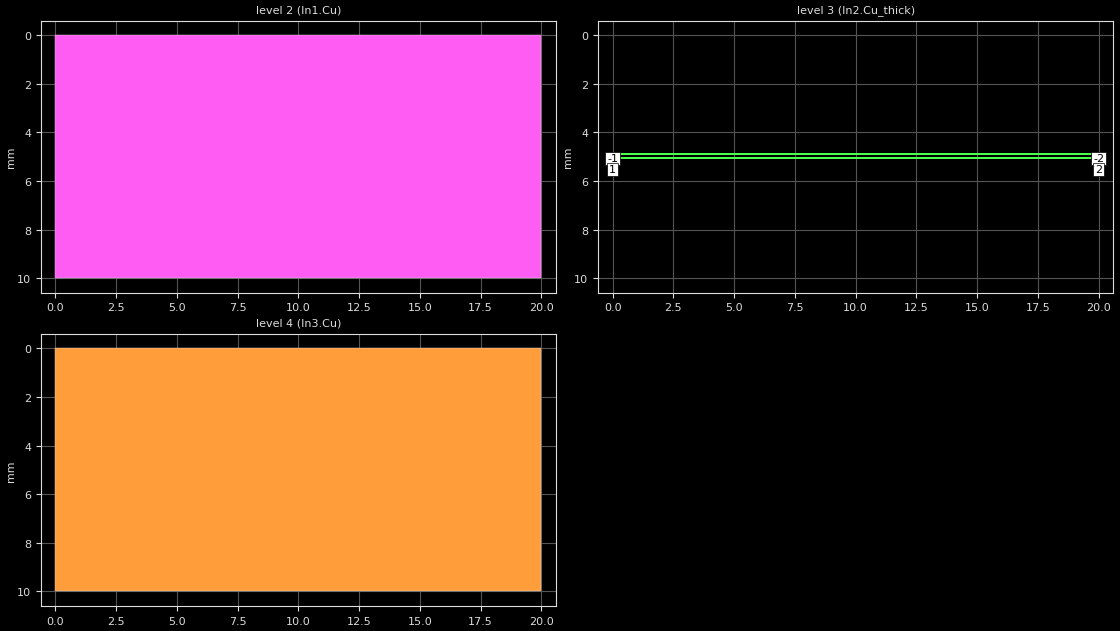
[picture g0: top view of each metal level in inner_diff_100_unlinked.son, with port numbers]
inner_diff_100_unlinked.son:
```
FTYP SONPROJ 19 ! Sonnet Project File
VER 18.52
HEADER
LIC antikernel2.1.51176
DAT 02/26/2022 12:07:44
BUILT_BY_CREATED xgeom 18.52 11/18/2021 20:28:07
BUILT_BY_SAVED sonnet 18.52
MDATE 02/26/2022 12:07:44
HDATE 02/26/2022 12:07:44
END HEADER
DIM
ANG DEG
CAP PF
CON /OH
FREQ GHZ
IND NH
LNG MM
RES OH
END DIM
CONTROL
VARSWP
OPTIONS  -dj
SPEED 0
CACHE_ABS 2
Q_ACC N
END CONTROL
GEO
TMET "Free Space" 0 FREESPACE 376.7303136 0 0 0
BMET "Free Space" 0 FREESPACE 376.7303136 0 0 0
MET "Copper_1oz_thin" 1 NOR 58000000 0.5 0.035 
MET "Copper_1oz_thick" 2 TMM 58000000 0.5 0.035 2
MET "Copper_1oz_thick_down" 3 TMM 58000000 0.5 0.035 2 CDVY TDWN
MET "Copper_0.5oz_thin" 4 NOR 58000000 0.5 0.017 
MET "Copper_0.5oz_thick" 12 TMM 58000000 0.5 0.017 2
MET "Copper_0.5oz_thick_down" 5 TMM 58000000 0.5 0.017 2 CDVY TDWN
BOX 10 20 10 4000 2000 20 0
      5 1 1 0 0 0 0 "Air"
      0.04 3.5 1 0.025 0 0 0 "Soldermask"
      0.075 3.9 1 0.008 0 0 0 "TU-872_SLK"
      0.1 3.9 1 0.008 0 0 0 "TU-872_SLK"
      0.143 3.9 1 0.008 0 0 0 "TU-872_SLK"
      0.7 4.49 1 0.016 0 0 0 "Shengyi_S1000-2M"
      0.143 3.9 1 0.008 0 0 0 "TU-872_SLK"
      0.1 3.9 1 0.008 0 0 0 "TU-872_SLK"
      0.075 3.9 1 0.008 0 0 0 "TU-872_SLK"
      0.04 3.5 1 0.025 0 0 0 "Soldermask"
      5 1 1 0 0 0 0 "Air"
TECHLAY METAL F.Cu_thin <UNSPECIFIED> -1 0 CAD F.Cu_thin drawing 
1 0 0 N 244 1 1 100 100 0 0 0 Y
END
END
TECHLAY METAL F.Cu_thick <UNSPECIFIED> -2 0 CAD F.Cu_thick drawing 
1 0 1 N 246 1 1 100 100 0 0 0 Y
END
END
TECHLAY VIA Via1 <UNSPECIFIED> -13 0 CAD Via1 drawing 
VIA POLYGON
1 0 -1 N 248 1 1 100 100 0 0 0 Y
TOLEVEL 8 RING NOCOVERS
END
END
TECHLAY METAL In1.Cu <UNSPECIFIED> -3 0 CAD In1.Cu drawing 
2 0 0 N 251 1 1 100 100 0 0 0 Y
END
END
TECHLAY METAL In2.Cu_thin <UNSPECIFIED> -4 0 CAD In2.Cu drawing 
3 0 3 N 254 1 1 100 100 0 0 0 Y
END
END
TECHLAY METAL In2.Cu_thick <UNSPECIFIED> -5 0 CAD In2.Cu_thick drawing 
3 0 4 N 256 1 1 100 100 0 0 0 Y
END
END
TECHLAY METAL In3.Cu <UNSPECIFIED> -6 0 CAD In3.Cu drawing 
4 0 0 N 263 1 1 100 100 0 0 0 Y
END
END
TECHLAY METAL In4.Cu <UNSPECIFIED> -7 0 CAD In4.Cu drawing 
5 0 0 N 268 1 1 100 100 0 0 0 Y
END
END
TECHLAY METAL In5.Cu_thin <UNSPECIFIED> -8 0 CAD In5.Cu drawing 
6 0 3 N 271 1 1 100 100 0 0 0 Y
END
END
TECHLAY METAL In5.Cu_thick <UNSPECIFIED> -9 0 CAD In5.Cu_thick drawing 
6 0 5 N 273 1 1 100 100 0 0 0 Y
END
END
TECHLAY METAL In6.Cu <UNSPECIFIED> -10 0 CAD In6.Cu drawing 
7 0 0 N 276 1 1 100 100 0 0 0 Y
END
END
TECHLAY METAL B.Cu_thin <UNSPECIFIED> -11 0 CAD B.Cu_thin drawing 
8 0 0 N 279 1 1 100 100 0 0 0 Y
END
END
TECHLAY METAL B.Cu_thick <UNSPECIFIED> -12 0 CAD B.Cu_thick drawing 
8 0 2 N 281 1 1 100 100 0 0 0 Y
END
END
VALVAR WIDTH LNG 0.14 "Dim. Param."
VALVAR CORE_ER NONE "table1(\"core_er.csv\",FREQ)" "Variable set in material file"
VALVAR CORE_DF NONE "table1(\"core_df.csv\",FREQ)" "Variable set in material file"
VALVAR PREPREG_DF NONE "table1(\"prepreg_df.csv\",FREQ)" "Variable set in material file"
VALVAR PREPREG_ER NONE "table1(\"prepreg_er.csv\",FREQ)" "Variable set in material file"
VALVAR SPACE LNG 0.09 "Dim. Param."
DIM STD YDIR -1
POS -0.176990271 -0.09526466207
NOM 0.08
REF1 POLY 104 1
3
REF2 POLY 104 1
0
END
DIM STD YDIR -1
POS -0.07094671337 -0.08465216036
NOM 0.08
REF1 POLY 133 1
3
REF2 POLY 133 1
0
END
LORGN 0 10 U 
POR1 BOX
POLY 133 1
3
-1 100 0 0 0 0 5.06 
POR1 BOX
POLY 133 1
1
-2 100 0 0 0 20 5.06 
POR1 BOX
POLY 104 1
3
1 100 0 0 0 0 4.89 
POR1 BOX
POLY 104 1
1
2 100 0 0 0 20 4.89 
NUM 4
2 5 0 N 103 1 1 100 100 0 0 0 Y
TLAYNAM In1.Cu INH
0 0
20 0
20 10
0 10
0 0
END
3 5 4 N 133 1 1 100 100 0 0 0 Y
TLAYNAM In2.Cu_thick INH
0 5.02
20 5.02
20 5.1
0 5.1
0 5.02
END
3 5 4 N 104 1 1 100 100 0 0 0 Y
TLAYNAM In2.Cu_thick INH
0 4.85
20 4.85
20 4.93
0 4.93
0 4.85
END
4 5 0 N 228 1 1 100 100 0 0 0 Y
TLAYNAM In3.Cu INH
0 0
20 0
20 10
0 10
0 0
END
END GEO
OPT
MAX 100
END OPT
VARSWP
ENABLED Y
FREQ Y AY ABS_ENTRY 0.001 16.0 -1 300 
VAR SPACE Y 0.08 0.14 0.02
END
END VARSWP
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```
